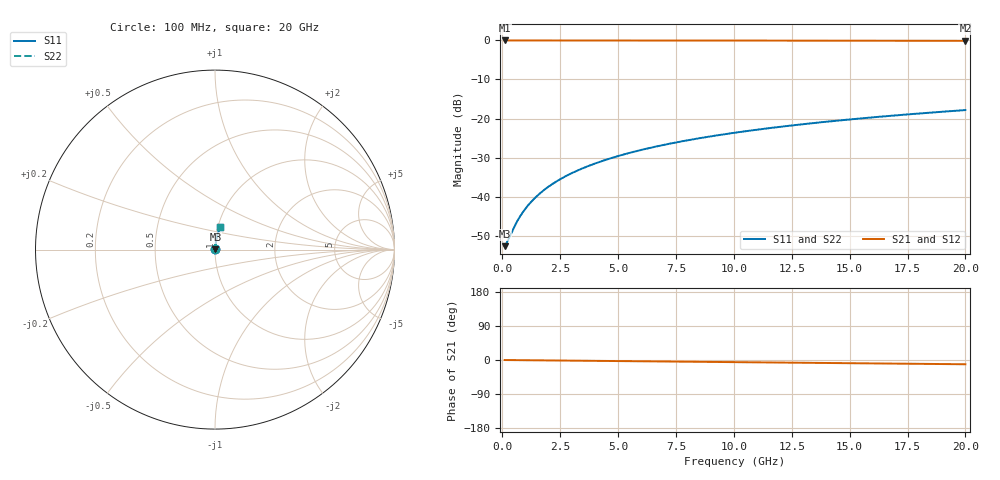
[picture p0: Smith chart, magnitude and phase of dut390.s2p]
! Touchstone file exported from HFSS 2026.1.0
!  File:  C:/ffzhzh/LocalFiles/Ansys_Project_Files/temp_train_TSV_390_1783020029_46388.aedt
!  Generated:  03:24:26 AM Jul  3, 2026
!  Design:  TSV
!  Project:  temp_train_TSV_390_1783020029_46388
! Variables:
!  h_bsmrdl = 2um
!  h_ox = 20um
!  h_rdl = 5um
!  h_sub = 85.34um
!  h_tmrdl = 5um
!  h_tsv = 85.34um
!  h_via = 3um
!  l_bsmrdl = 300um
!  l_sub = 404.18um
!  l_tmrdl = 200um
!  m_sub = 200um
!  pitch = 35.42um
!  r_tsv = 2.09um
!  s_tmrdl = 10um
!  w_bsmrdl = 18um
!  w_sub = 500um
!  w_tmrdl = 12um
!  x_tsv_center1 = 206um
!  x_tsv_center2 = 524um
!  x_tsv_center3 = 736um
!  x_tsv_center4 = 1054um
!  x_tsv_center5 = 1266um
!  x_tsv_center6 = 1584um
# GHz S MA R 50.000000
! Terminal data exported
! Port[1] = TSV1_1_T1
! Port[2] = TSV1_1_T2
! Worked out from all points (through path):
!   200 points, 100 MHz to 20 GHz, reference 50 ohm
!   highest |S21| = -0.02 dB at 100 MHz (marker M1); lowest = -0.1 dB at 20 GHz (marker M2)
!   group delay of S21, straight-line fit = 1.56 ps
!   lowest |S11| = -52.6 dB at 100 MHz (marker M3), VSWR 1.00, Z = 50.2 + j0.0671 ohm
!   |S11| at or under -10 dB: start of sweep to end of sweep
!   |S22| runs from -52.6 to -17.8 dB; largest |S21 - S12| = 3.2e-15
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0.1  0.002332 16.6  0.9978 -0.1  0.9978 -0.1  0.002332 16.6
! Gamma 0 0 0 0
! Port Impedance 50 0 50 0
0.2  0.002607 30.8  0.9978 -0.1  0.9978 -0.1  0.002607 30.8
0.5  0.004031 55.7  0.9977 -0.3  0.9977 -0.3  0.004031 55.7
0.6  0.0046 60.2  0.9977 -0.3  0.9977 -0.3  0.0046 60.2
0.8  0.005798 66.5  0.9977 -0.5  0.9977 -0.5  0.005798 66.5
0.9  0.006415 68.7  0.9977 -0.5  0.9977 -0.5  0.006415 68.7
1.1  0.00767 72.0  0.9977 -0.6  0.9977 -0.6  0.00767 72.0
1.4  0.009586 75.3  0.9977 -0.8  0.9977 -0.8  0.009586 75.3
1.8  0.01217 78.0  0.9976 -1.0  0.9976 -1.0  0.01217 78.0
2.3  0.01543 79.9  0.9975 -1.3  0.9975 -1.3  0.01543 79.9
2.9  0.01936 81.2  0.9974 -1.7  0.9974 -1.7  0.01936 81.2
3.5  0.0233 82.0  0.9973 -2.0  0.9973 -2.0  0.0233 82.0
4.2  0.0279 82.5  0.9971 -2.4  0.9971 -2.4  0.0279 82.5
5  0.03314 82.7  0.9969 -2.9  0.9969 -2.9  0.03314 82.7
5.9  0.03904 82.7  0.9966 -3.4  0.9966 -3.4  0.03904 82.7
6.8  0.04491 82.6  0.9962 -3.9  0.9962 -3.9  0.04491 82.6
8.3  0.05466 82.1  0.9955 -4.7  0.9955 -4.7  0.05466 82.1
10.1  0.06628 81.4  0.9945 -5.7  0.9945 -5.7  0.06628 81.4
11.7  0.07653 80.7  0.9936 -6.6  0.9936 -6.6  0.07653 80.7
13.4  0.08733 79.9  0.9924 -7.6  0.9924 -7.6  0.08733 79.9
16.7  0.108 78.3  0.9898 -9.4  0.9898 -9.4  0.108 78.3
20  0.1284 76.6  0.9869 -11.2  0.9869 -11.2  0.1284 76.6
